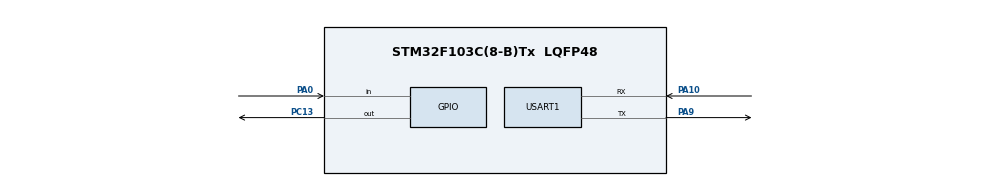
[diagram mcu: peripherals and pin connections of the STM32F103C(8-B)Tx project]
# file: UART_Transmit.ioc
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Mcu.Family=STM32F1
Mcu.Name=STM32F103C(8-B)Tx
Mcu.Package=LQFP48
NVIC.PriorityGroup=NVIC_PRIORITYGROUP_4
PA0-WKUP.Signal=GPIO_Input
PA10.Mode=Asynchronous
PA10.Signal=USART1_RX
PA13.Mode=Serial_Wire
PA13.Signal=SYS_JTMS-SWDIO
PA14.Mode=Serial_Wire
PA14.Signal=SYS_JTCK-SWCLK
PA9.Mode=Asynchronous
PA9.Signal=USART1_TX
PC13-TAMPER-RTC.Signal=GPIO_Output
PD0-OSC_IN.Mode=HSE-External-Oscillator
PD0-OSC_IN.Signal=RCC_OSC_IN
PD1-OSC_OUT.Mode=HSE-External-Oscillator
PD1-OSC_OUT.Signal=RCC_OSC_OUT
ProjectManager.HeapSize=0x200
ProjectManager.StackSize=0x400
ProjectManager.TargetToolchain=STM32CubeIDE
RCC.APB1Freq_Value=8000000
RCC.APB2Freq_Value=8000000
USART1.VirtualMode=VM_ASYNC
board=custom

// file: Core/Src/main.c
/* USER CODE BEGIN Header */
/**
  ******************************************************************************
  * @file           : main.c
  * @brief          : Main program body
  ******************************************************************************
  * @attention
  *
  * Copyright (c) 2025 STMicroelectronics.
  * All rights reserved.
  *
  * This software is licensed under terms that can be found in the LICENSE file
  * in the root directory of this software component.
  * If no LICENSE file comes with this software, it is provided AS-IS.
  *
  ******************************************************************************
  */
/* USER CODE END Header */
#include "main.h"

 UART_HandleTypeDef huart1;

void SystemClock_Config(void);
static void MX_GPIO_Init(void);
static void MX_USART1_UART_Init(void);

/* USER CODE BEGIN 0 */
typedef enum {
    DATA_TYPE_UINT8,
    DATA_TYPE_UINT16,
    DATA_TYPE_UINT32,
    DATA_TYPE_STRING
} DataType;

char* ConvertToString(void* data, DataType type, char* out, size_t out_size) {
    if (out == NULL || out_size == 0) return NULL;

    switch (type) {
        case DATA_TYPE_UINT8:
            snprintf(out, out_size, "%u\r\n", *(uint8_t*)data);
            break;

        case DATA_TYPE_UINT16:
            snprintf(out, out_size, "%u\r\n", *(uint16_t*)data);
            break;

        case DATA_TYPE_UINT32:
            snprintf(out, out_size, "%lu\r\n", *(uint32_t*)data);
            break;

        case DATA_TYPE_STRING:
            snprintf(out, out_size, "%s\r\n", (char*)data);
            break;

        default:
            snprintf(out, out_size, "UNKNOWN\r\n");
            break;
    }
    return out;
}

void UART_Transmit_Generic(void* data, DataType type, uint32_t timeout) {
    char buffer[64];
    char* result = ConvertToString(data, type, buffer, sizeof(buffer));
    if (result != NULL) {
        HAL_UART_Transmit(&huart1, (uint8_t*)result, strlen(result), timeout);
    }
}
/* USER CODE END 0 */

int main(void)
{

  /* MCU Configuration--------------------------------------------------------*/

  /* Reset of all peripherals, Initializes the Flash interface and the Systick. */
  HAL_Init();

  /* Configure the system clock */
  SystemClock_Config();

  /* Initialize all configured peripherals */
  MX_GPIO_Init();
  MX_USART1_UART_Init();

  /* Infinite loop */
  while (1)
  {

  }
}

void SystemClock_Config(void)
{
  RCC_OscInitTypeDef RCC_OscInitStruct = {0};
  RCC_ClkInitTypeDef RCC_ClkInitStruct = {0};

  /** Initializes the RCC Oscillators according to the specified parameters
  * in the RCC_OscInitTypeDef structure.
  */
  RCC_OscInitStruct.OscillatorType = RCC_OSCILLATORTYPE_HSI;
  RCC_OscInitStruct.HSIState = RCC_HSI_ON;
  RCC_OscInitStruct.HSICalibrationValue = RCC_HSICALIBRATION_DEFAULT;
  RCC_OscInitStruct.PLL.PLLState = RCC_PLL_NONE;
  if (HAL_RCC_OscConfig(&RCC_OscInitStruct) != HAL_OK)
  {
    Error_Handler();
  }

  /** Initializes the CPU, AHB and APB buses clocks
  */
  RCC_ClkInitStruct.ClockType = RCC_CLOCKTYPE_HCLK|RCC_CLOCKTYPE_SYSCLK
                              |RCC_CLOCKTYPE_PCLK1|RCC_CLOCKTYPE_PCLK2;
  RCC_ClkInitStruct.SYSCLKSource = RCC_SYSCLKSOURCE_HSI;
  RCC_ClkInitStruct.AHBCLKDivider = RCC_SYSCLK_DIV1;
  RCC_ClkInitStruct.APB1CLKDivider = RCC_HCLK_DIV1;
  RCC_ClkInitStruct.APB2CLKDivider = RCC_HCLK_DIV1;

  if (HAL_RCC_ClockConfig(&RCC_ClkInitStruct, FLASH_LATENCY_0) != HAL_OK)
  {
    Error_Handler();
  }
}

static void MX_USART1_UART_Init(void)
{

  huart1.Instance = USART1;
  huart1.Init.BaudRate = 115200;
  huart1.Init.WordLength = UART_WORDLENGTH_8B;
  huart1.Init.StopBits = UART_STOPBITS_1;
  huart1.Init.Parity = UART_PARITY_NONE;
  huart1.Init.Mode = UART_MODE_TX_RX;
  huart1.Init.HwFlowCtl = UART_HWCONTROL_NONE;
  huart1.Init.OverSampling = UART_OVERSAMPLING_16;
  if (HAL_UART_Init(&huart1) != HAL_OK)
  {
    Error_Handler();
  }

}

static void MX_GPIO_Init(void)
{
  GPIO_InitTypeDef GPIO_InitStruct = {0};

  /* GPIO Ports Clock Enable */
  __HAL_RCC_GPIOC_CLK_ENABLE();
  __HAL_RCC_GPIOD_CLK_ENABLE();
  __HAL_RCC_GPIOA_CLK_ENABLE();

  /*Configure GPIO pin Output Level */
  HAL_GPIO_WritePin(GPIOC, GPIO_PIN_13, GPIO_PIN_RESET);

  /*Configure GPIO pin : PC13 */
  GPIO_InitStruct.Pin = GPIO_PIN_13;
  GPIO_InitStruct.Mode = GPIO_MODE_OUTPUT_PP;
  GPIO_InitStruct.Pull = GPIO_NOPULL;
  GPIO_InitStruct.Speed = GPIO_SPEED_FREQ_LOW;
  HAL_GPIO_Init(GPIOC, &GPIO_InitStruct);

  /*Configure GPIO pin : PA0 */
  GPIO_InitStruct.Pin = GPIO_PIN_0;
  GPIO_InitStruct.Mode = GPIO_MODE_INPUT;
  GPIO_InitStruct.Pull = GPIO_NOPULL;
  HAL_GPIO_Init(GPIOA, &GPIO_InitStruct);

}

void Error_Handler(void)
{
  __disable_irq();
  while (1)
  {
  }
}
